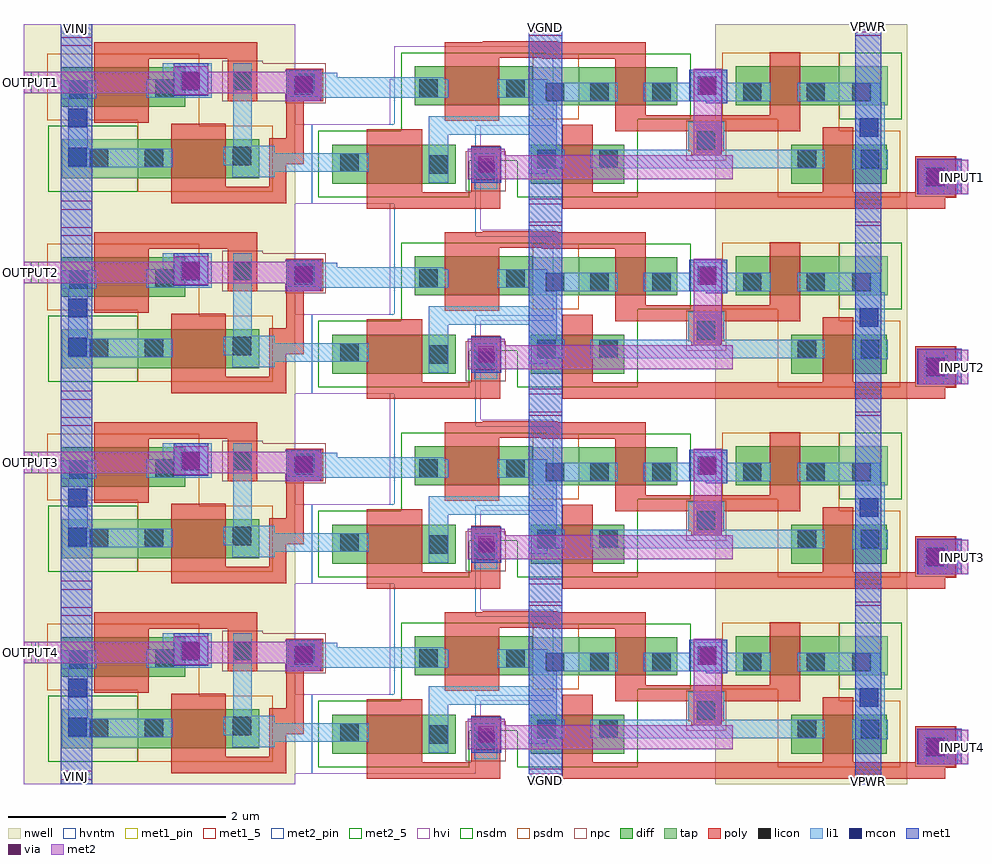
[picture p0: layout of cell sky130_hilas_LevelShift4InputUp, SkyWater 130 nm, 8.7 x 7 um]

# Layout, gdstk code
import gdstk
lib = gdstk.Library(unit=1e-6, precision=1e-09)
def R(c, l, rs):  # rectangles x0, y0, x1, y1
    for r in rs: c.add(gdstk.rectangle(r[:2], r[2:], *l))
def A(c, l, x, y, w, h, nx, ny, dx, dy):  # array of equal rectangles
    R(c, l, [(x+i*dx, y+j*dy, x+i*dx+w, y+j*dy+h) for i in range(nx) for j in range(ny)])
nwell = (64, 20)
diff = (65, 20)
tap = (65, 44)
poly = (66, 20)
licon = (66, 44)
li1 = (67, 20)
mcon = (67, 44)
met1_5 = (68, 5)
met1_pin = (68, 16)
met1 = (68, 20)
via = (68, 44)
met2_5 = (69, 5)
met2_pin = (69, 16)
met2 = (69, 20)
hvi = (75, 20)
nsdm = (93, 44)
psdm = (94, 20)
npc = (95, 20)
hvntm = (125, 20)

sky130_hilas_stepupdigit = lib.new_cell('sky130_hilas_StepUpDigitalPart1')
R(sky130_hilas_stepupdigit, nwell, [(6.59,-0.4,8.36,1.19)])
R(sky130_hilas_stepupdigit, diff, [(3.06,-0.21,4.2,0.15), (4.89,-0.21,5.75,0.15), (7.29,-0.21,8.17,0.15), (3.82,0.51,4.91,0.87), (5.33,0.51,6.24,0.86), (6.78,0.51,7.73,0.87)])
R(sky130_hilas_stepupdigit, tap, [(4.91,0.51,5.33,0.86), (7.73,0.51,8.18,0.87)])
R(sky130_hilas_stepupdigit, poly, [(3.38,-0.44,4.61,-0.29), (5.18,-0.44,8.71,-0.34), (5.18,-0.34,8.81,-0.29), (3.38,-0.29,3.89,0.29), (4.34,-0.29,4.61,0.14), (5.18,-0.29,5.46,0.33), (7.58,-0.29,7.86,0.31), (8.43,-0.29,8.81,0.04), (6.37,0.05,6.64,0.09), (6.34,0.09,6.67,0.27), (5.67,0.27,7.37,0.42), (4.1,0.37,4.6,0.95), (5.67,0.42,5.95,0.94), (7.09,0.42,7.37,1), (4.99,0.94,5.95,0.95), (4.1,0.95,5.95,1.09), (4.45,1.09,5.14,1.1)])
R(sky130_hilas_stepupdigit, licon, [(8.53,-0.23,8.7,-0.06), (4.39,-0.18,4.56,-0.01), (3.955,-0.12,4.125,0.05), (3.135,-0.1,3.305,0.07), (4.95,-0.07,5.12,0.1), (5.52,-0.07,5.69,0.1), (7.35,-0.07,7.52,0.1), (7.93,-0.07,8.1,0.1), (6.42,0.1,6.59,0.27), (5.03,0.55,5.2,0.72), (5.44,0.55,5.61,0.72), (6.01,0.55,6.18,0.72), (6.845,0.55,7.015,0.72), (7.43,0.55,7.6,0.72), (7.85,0.55,8.02,0.72), (3.865,0.58,4.035,0.75), (4.665,0.58,4.835,0.75)])
R(sky130_hilas_stepupdigit, li1, [(8.53,-0.31,8.7,-0.26), (4.37,-0.26,4.58,0.07), (8.51,-0.26,8.73,-0.04), (3.95,-0.2,4.13,0.24), (4.87,-0.12,5.04,-0.07), (2.78,-0.1,3.4,0.07), (7.85,-0.08,8.18,0.1), (4.87,-0.07,5.2,0.1), (5.44,-0.07,7.6,0.1), (8.53,-0.04,8.7,0.02), (4.87,0.1,5.13,0.24), (6.34,0.1,6.67,0.36), (7.88,0.1,8.15,0.54), (3.95,0.24,5.13,0.41), (4.87,0.41,5.13,0.55), (7.88,0.54,8.11,0.55), (4.87,0.55,5.69,0.58), (5.93,0.55,7.1,0.72), (7.35,0.55,8.11,0.72), (2.94,0.58,4.13,0.75), (4.58,0.58,5.69,0.72), (4.58,0.72,5.04,0.75), (6.35,0.72,6.7,0.82), (2.94,0.75,4.09,0.77), (2.94,0.77,3.11,0.81)])
R(sky130_hilas_stepupdigit, mcon, [(8.535,-0.235,8.705,-0.065), (7.92,0.22,8.09,0.39), (6.43,0.61,6.6,0.78)])
R(sky130_hilas_stepupdigit, met1_5, [(4.87,-0.4,5.18,-0.35), (7.88,-0.4,8.12,-0.36), (4.87,1.15,5.18,1.19), (7.88,1.15,8.12,1.19)])
R(sky130_hilas_stepupdigit, met1, [(4.87,-0.49,5.18,1.2), (7.88,-0.49,8.12,1.19), (8.45,-0.31,8.86,0.02), (4.34,-0.2,4.62,0.13), (6.5,0.53,6.7,0.55), (6.35,0.55,6.7,0.84)])
R(sky130_hilas_stepupdigit, via, [(8.545,-0.225,8.695,-0.075), (4.405,-0.105,4.555,0.045), (6.445,0.615,6.595,0.765)])
R(sky130_hilas_stepupdigit, met2_5, [(8.85,-0.31,8.92,0.01)])
R(sky130_hilas_stepupdigit, met2, [(8.46,-0.31,8.92,0.01), (4.31,-0.17,6.75,0.05), (4.31,0.05,4.65,0.11), (6.39,0.05,6.65,0.85)])
R(sky130_hilas_stepupdigit, hvi, [(2.875,-0.395,4.385,-0.09), (2.875,-0.09,4.43,0.325), (2.875,0.325,5.095,0.335), (3.59,0.335,5.095,0.75), (3.635,0.75,5.095,1.055)])
R(sky130_hilas_stepupdigit, nsdm, [(2.935,-0.335,4.325,0), (4.765,-0.335,5.875,0), (2.935,0,5.875,0.275), (3.695,0.275,5.875,0.385), (3.695,0.385,6.365,0.985), (7.73,0.385,8.305,0.995), (3.695,0.985,5.035,0.995)])
R(sky130_hilas_stepupdigit, psdm, [(7.165,-0.335,8.295,0.275), (7.165,0.275,7.73,0.385), (4.91,0.385,5.33,0.985), (6.655,0.385,7.73,0.995)])
R(sky130_hilas_stepupdigit, npc, [(8.43,-0.33,8.8,0.04), (4.29,-0.28,4.66,0.09), (6.32,0,6.69,0.37)])
R(sky130_hilas_stepupdigit, hvntm, [(2.875,-0.395,4.385,0.325), (2.875,0.325,5.095,0.335), (3.635,0.335,5.095,1.055)])
sky130_hilas_stepupdigit.add(gdstk.Label('Input', (8.885,-0.15), layer=69, texttype=5))
sky130_hilas_stepupdigit.add(gdstk.Label('Vdd', (8,1.17), layer=68, texttype=5))
sky130_hilas_stepupdigit.add(gdstk.Label('Vdd', (8,-0.38), layer=68, texttype=5))
sky130_hilas_stepupdigit.add(gdstk.Label('GND', (5.025,1.17), layer=68, texttype=5))
sky130_hilas_stepupdigit.add(gdstk.Label('GND', (5.025,-0.375), layer=68, texttype=5))

c_sky130_hilas_stepupdigit = lib.new_cell('sky130_hilas_StepUpDigital')
R(c_sky130_hilas_stepupdigit, nwell, [(0.19,-0.44,2.69,1.31), (6.56,-0.44,8.33,-0.35), (6.56,1.24,8.33,1.31)])
R(c_sky130_hilas_stepupdigit, diff, [(1.24,-0.11,2.36,0.25), (0.53,0.55,1.68,0.91)])
R(c_sky130_hilas_stepupdigit, tap, [(0.54,-0.11,1.24,0.25)])
R(c_sky130_hilas_stepupdigit, poly, [(1.55,-0.34,2.61,-0.19), (1.55,-0.19,2.05,0.39), (2.45,-0.19,2.61,0.02), (2.45,0.02,2.77,0.26), (2.61,0.26,2.77,0.6), (0.84,0.4,1.34,0.99), (2.07,0.6,2.34,0.99), (2.61,0.6,2.95,0.9), (0.84,0.99,2.34,1.14)])
R(c_sky130_hilas_stepupdigit, licon, [(0.8,-0.01,0.97,0.16), (1.305,-0.01,1.475,0.16), (2.115,0.01,2.285,0.18), (0.61,0.62,0.78,0.79), (1.4,0.63,1.57,0.8), (2.7,0.68,2.87,0.85), (2.12,0.7,2.29,0.87)])
R(c_sky130_hilas_stepupdigit, li1, [(2.11,-0.1,2.5,-0.05), (2.11,-0.05,2.85,0.01), (0.6,-0.01,1.56,0.16), (2.03,0.01,2.85,0.07), (2.03,0.07,2.84,0.12), (2.03,0.12,2.5,0.18), (0.6,0.16,0.78,0.62), (2.12,0.18,2.5,0.19), (2.12,0.19,2.29,0.95), (0.53,0.62,0.86,0.79), (1.32,0.63,1.92,0.8), (2.62,0.64,2.91,0.68), (2.62,0.68,2.95,0.85), (1.47,0.8,1.92,0.95), (2.62,0.85,2.91,0.88)])
R(c_sky130_hilas_stepupdigit, mcon, [(0.6,0,0.77,0.17), (0.6,0.36,0.77,0.53), (2.68,0.66,2.85,0.83), (1.64,0.7,1.81,0.87)])
R(c_sky130_hilas_stepupdigit, met1_5, [(0.53,-0.4,0.82,-0.32), (0.53,1.11,0.82,1.19)])
R(c_sky130_hilas_stepupdigit, met1, [(0.53,-0.44,0.82,1.31), (2.62,0.6,2.91,0.61), (2.61,0.61,2.93,0.88), (1.57,0.65,1.89,0.95), (2.62,0.88,2.93,0.89), (7.85,1.24,8.09,1.31), (4.84,1.25,5.15,1.31)])
R(c_sky130_hilas_stepupdigit, via, [(2.695,0.675,2.845,0.825), (1.655,0.715,1.805,0.865)])
R(c_sky130_hilas_stepupdigit, met2_5, [(0.26,0.67,0.33,0.87)])
R(c_sky130_hilas_stepupdigit, met2, [(2.6,0.6,2.92,0.62), (2.6,0.62,2.93,0.67), (1.57,0.66,1.89,0.67), (0.26,0.67,2.93,0.87), (1.57,0.87,1.89,0.92), (2.6,0.87,2.93,0.88), (2.6,0.88,2.92,0.89)])
R(c_sky130_hilas_stepupdigit, hvi, [(0.19,-0.44,2.69,-0.345), (0.19,-0.345,2.845,0.385), (0.19,0.385,2.69,1.31)])
R(c_sky130_hilas_stepupdigit, nsdm, [(0.415,-0.235,1.24,0.375)])
R(c_sky130_hilas_stepupdigit, psdm, [(1.24,-0.235,2.485,0.375), (1.24,0.375,1.805,0.425), (0.405,0.425,1.805,1.035)])
R(c_sky130_hilas_stepupdigit, npc, [(2.6,0.58,2.97,0.6), (2.02,0.6,2.97,0.95), (2.02,0.95,2.39,0.97)])
c_sky130_hilas_stepupdigit.add(gdstk.Reference(sky130_hilas_stepupdigit, (-0.03,0.05)))
c_sky130_hilas_stepupdigit.add(gdstk.Label('Output', (0.295,0.77), layer=69, texttype=5))
c_sky130_hilas_stepupdigit.add(gdstk.Label('Vinj', (0.675,1.15), layer=68, texttype=5))
c_sky130_hilas_stepupdigit.add(gdstk.Label('Vinj', (0.675,-0.36), layer=68, texttype=5))

sky130_hilas_levelshift4 = lib.new_cell('sky130_hilas_LevelShift4InputUp')
R(sky130_hilas_levelshift4, nwell, [(-0.3,4.7,-0.19,4.9)])
R(sky130_hilas_levelshift4, met1_pin, [(4.35,-1.06,4.66,-1), (7.36,-1.06,7.6,-1.01), (0.04,-1.02,0.33,-0.97), (0.04,5.85,0.33,5.94), (4.35,5.88,4.66,5.94), (7.36,5.89,7.6,5.94)])
R(sky130_hilas_levelshift4, met1, [(0.04,-1.06,0.33,-0.94), (4.35,-1.06,4.66,-1), (7.36,-1.06,7.6,-1.01), (0.04,5.85,0.33,5.94), (4.35,5.88,4.66,5.94), (7.36,5.89,7.6,5.94)])
A(sky130_hilas_levelshift4, met2_pin, 8.3, -0.88, 0.1, 0.32, 1, 4, 0, 1.75)
R(sky130_hilas_levelshift4, met2_pin, [(-0.3,0.05,-0.19,0.25), (-0.3,1.8,-0.22,2), (-0.3,3.55,-0.23,3.75), (-0.3,5.3,-0.23,5.5)])
A(sky130_hilas_levelshift4, met2, 8.3, -0.88, 0.1, 0.32, 1, 4, 0, 1.75)
R(sky130_hilas_levelshift4, met2, [(-0.3,0.05,-0.14,0.25), (-0.3,1.8,-0.11,2), (-0.3,3.55,-0.13,3.75), (-0.3,5.3,-0.14,5.5)])
A(sky130_hilas_levelshift4, hvi, 3.91, -0.295, 0.665, 0.05, 1, 3, 0, 1.75)
A(sky130_hilas_levelshift4, hvi, 3.07, 0.18, 0.045, 0.305, 1, 3, 0, 1.75)
A(sky130_hilas_levelshift4, hvi, 3.07, 0.485, 1.505, 0.06, 1, 3, 0, 1.75)
A(sky130_hilas_levelshift4, hvi, 3.07, 0.545, 0.84, 0.24, 1, 3, 0, 1.75)
A(sky130_hilas_levelshift4, hvi, 3.865, 0.785, 0.045, 0.305, 1, 3, 0, 1.75)
A(sky130_hilas_levelshift4, hvntm, 3.115, 0.485, 0.75, 0.3, 1, 3, 0, 1.75)
sky130_hilas_levelshift4.add(gdstk.Reference(c_sky130_hilas_stepupdigit, (-0.49,1.13)))
sky130_hilas_levelshift4.add(gdstk.Reference(c_sky130_hilas_stepupdigit, (-0.49,-0.62)))
sky130_hilas_levelshift4.add(gdstk.Reference(c_sky130_hilas_stepupdigit, (-0.49,2.88)))
sky130_hilas_levelshift4.add(gdstk.Reference(c_sky130_hilas_stepupdigit, (-0.49,4.63)))
sky130_hilas_levelshift4.add(gdstk.Label('VPWR', (7.48,5.915), layer=68, texttype=16))
sky130_hilas_levelshift4.add(gdstk.Label('VPWR', (7.48,-1.035), layer=68, texttype=16))
sky130_hilas_levelshift4.add(gdstk.Label('VINJ', (0.185,-0.995), layer=68, texttype=16))
sky130_hilas_levelshift4.add(gdstk.Label('VINJ', (0.185,5.895), layer=68, texttype=16))
sky130_hilas_levelshift4.add(gdstk.Label('OUTPUT1', (-0.265,5.4), layer=69, texttype=16))
sky130_hilas_levelshift4.add(gdstk.Label('OUTPUT2', (-0.265,3.65), layer=69, texttype=16))
sky130_hilas_levelshift4.add(gdstk.Label('OUTPUT3', (-0.26,1.9), layer=69, texttype=16))
sky130_hilas_levelshift4.add(gdstk.Label('OUTPUT4', (-0.245,0.15), layer=69, texttype=16))
sky130_hilas_levelshift4.add(gdstk.Label('VGND', (4.505,-1.03), layer=68, texttype=16))
sky130_hilas_levelshift4.add(gdstk.Label('VGND', (4.505,5.91), layer=68, texttype=16))
sky130_hilas_levelshift4.add(gdstk.Label('INPUT1', (8.35,4.53), layer=69, texttype=16))
sky130_hilas_levelshift4.add(gdstk.Label('INPUT2', (8.35,2.78), layer=69, texttype=16))
sky130_hilas_levelshift4.add(gdstk.Label('INPUT3', (8.35,1.03), layer=69, texttype=16))
sky130_hilas_levelshift4.add(gdstk.Label('INPUT4', (8.35,-0.72), layer=69, texttype=16))

lib.write_gds('sky130_hilas_LevelShift4InputUp.gds')
